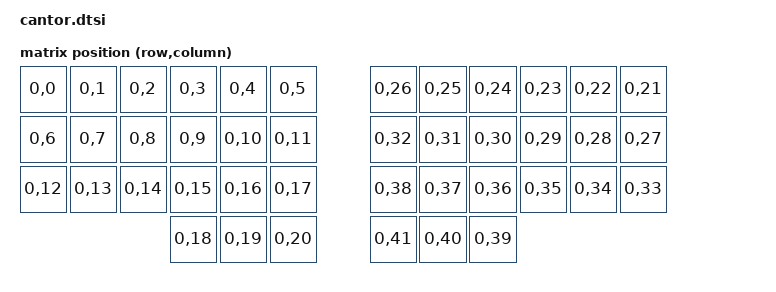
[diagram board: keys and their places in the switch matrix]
/*
 * Copyright (c) 2020 Pete Johanson
 *
 * SPDX-License-Identifier: MIT
 */

// Keyscan Setup
/ {
    chosen {
        zmk,kscan = &default_kscan;
        zmk,physical-layout = &default_transform;
    };

    default_transform: keymap_transform_0 {
        compatible = "zmk,matrix-transform";
        columns = <42>;
        rows = <1>;
// | SW00 | SW01 | SW02 | SW03 | SW04 | SW05 |   | SW05  | SW04  | SW03  | SW02  | SW01  | SW00  |
// | SW10 | SW11 | SW12 | SW13 | SW14 | SW15 |   | SW15 | SW14 | SW13 | SW12  | SW11  | SW10  |
// | SW20 | SW21 | SW22 | SW23 | SW24 | SW25 |   | SW25 | SW24 | SW23 | SW22 | SW21 | SW20 |
//                      | SW30 | SW31 | SW32 |   | SW32 | SW31 | SW30 |
        map = <
RC(0,0)  RC(0,1)  RC(0,2)  RC(0,3)  RC(0,4)  RC(0,5)    RC(0,26) RC(0,25) RC(0,24) RC(0,23) RC(0,22) RC(0,21)
RC(0,6)  RC(0,7)  RC(0,8)  RC(0,9)  RC(0,10) RC(0,11)   RC(0,32) RC(0,31) RC(0,30) RC(0,29) RC(0,28) RC(0,27)
RC(0,12) RC(0,13) RC(0,14) RC(0,15) RC(0,16) RC(0,17)   RC(0,38) RC(0,37) RC(0,36) RC(0,35) RC(0,34) RC(0,33)
                           RC(0,18) RC(0,19) RC(0,20)   RC(0,41) RC(0,40) RC(0,39)
        >;
    };


};
